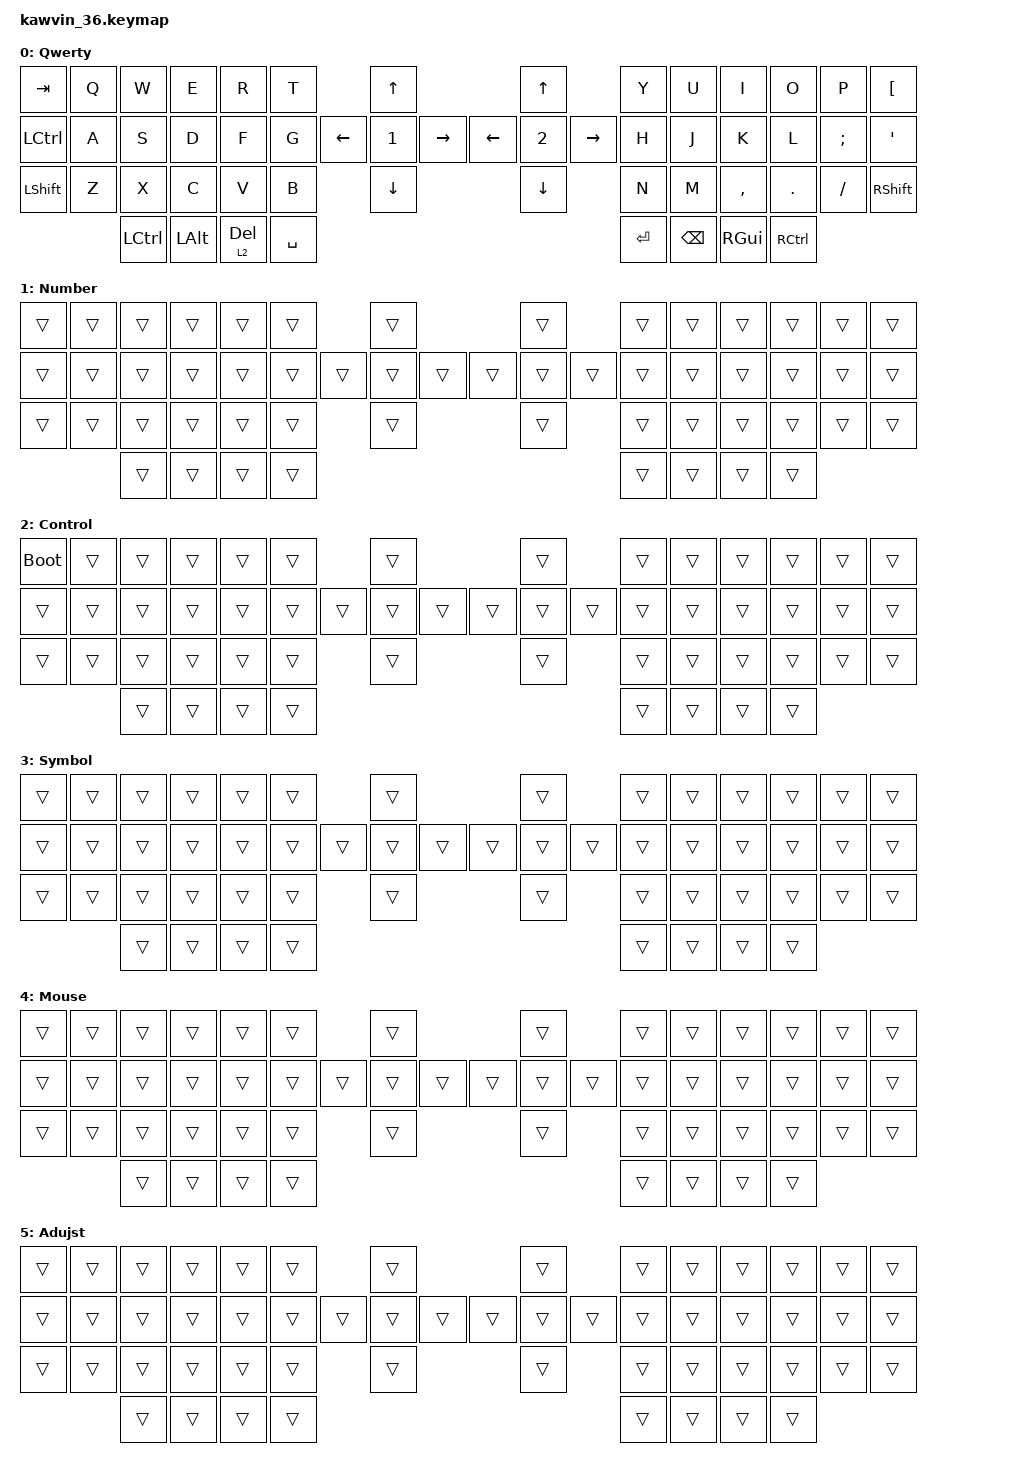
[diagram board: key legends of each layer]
/*
 * Copyright (c) 2023 The ZMK Contributors
 *
 * SPDX-License-Identifier: MIT
 */

#include <behaviors.dtsi>
#include <dt-bindings/zmk/keys.h>
#include <dt-bindings/zmk/bt.h>
#include <dt-bindings/zmk/ext_power.h>
#include <dt-bindings/zmk/rgb.h>


//#define QWERT 0
//#define LAYER1 1
//#define LAYER2 2
//#define LAYER3 3
//#define LAYER4 4
//#define LAYER5 5

/ {
/*
    sensors: sensors {
        compatible = "zmk,keymap-sensors";
        sensors = <&left_encoder>;
        //sensors = <&left_encoder &right_encoder>;
        triggers-per-rotation = <20>;
    };
*/
    macros {
        flash_macro: flash_macro {
            compatible = "zmk,behavior-macro";
            #binding-cells = <0>;
            bindings = <&bootloader>;
        };

        Ky_MyPwd: Ky_MyPwd {
            label = "Ky_MyPwd";
            compatible = "zmk,behavior-macro";
            #binding-cells = <0>;
            wait-ms = <0>;
            tap-ms = <0>;
            bindings =
                <&kp N0>,
                <&kp N1>,
                <&kp N2>,
                <&kp N3>,
                <&kp N4>,
                <&kp N5>;
        };

        layer_s: layer_s {
            label = "layer shift color";
            compatible = "zmk,behavior-macro";
            #binding-cells = <0>;
            wait-ms = <0>;
            tap-ms = <0>;
            bindings =
                <&macro_press>,
                <&kp LSHFT>,
                <&macro_tap>,
                <&rgb_ug RGB_COLOR_HSB(35,100,50)>,
                <&macro_pause_for_release>,
                <&macro_release>,
                <&kp LSHFT>,
                <&macro_tap>,
                <&rgb_ug RGB_COLOR_HSB(240,50,30)>;
        };

        layer_1: layer_1 {
            label = "layer 1";
            compatible = "zmk,behavior-macro";
            #binding-cells = <0>;
            wait-ms = <0>;
            tap-ms = <0>;
            bindings =
                <&macro_press>,
                <&ltq 0 END>,
                <&macro_tap>,
                <&rgb_ug RGB_COLOR_HSB(300,100,50)>,
                <&macro_pause_for_release>,
                <&macro_release>,
                <&lt 0 END>,
                <&macro_tap>,
                <&rgb_ug RGB_COLOR_HSB(240,50,30)>;
        };

        layer_2: layer_2 {
            label = "layer 2";
            compatible = "zmk,behavior-macro";
            #binding-cells = <0>;
            wait-ms = <0>;
            tap-ms = <0>;
            bindings =
                <&macro_press>,
                <&mo 0>,
                <&macro_tap>,
                <&rgb_ug RGB_COLOR_HSB(175,100,50)>,
                <&macro_pause_for_release>,
                <&macro_release>,
                <&mo 0>,
                <&macro_tap>,
                <&rgb_ug RGB_COLOR_HSB(240,50,30)>;
        };

        layer_3: layer_3 {
            label = "layer 3";
            compatible = "zmk,behavior-macro";
            #binding-cells = <0>;
            wait-ms = <0>;
            tap-ms = <0>;
            bindings =
                <&macro_press>,
                <&lt 0 DEL>,
                <&macro_tap>,
                <&rgb_ug RGB_COLOR_HSB(0,100,50)>,
                <&macro_pause_for_release>,
                <&macro_release>,
                <&lt 0 DEL>,
                <&macro_tap>,
                <&rgb_ug RGB_COLOR_HSB(240,50,30)>;
        };
    };

    behaviors {
        hm: homerow_mods {
            compatible = "zmk,behavior-hold-tap";
            label = "HOMEROW_MODS";
            bindings = <&kp>, <&kp>;

            #binding-cells = <2>;
            tapping-term-ms = <200>;
            quick-tap-ms = <180>;
            flavor = "tap-preferred";
        };

        ltq: ltq {
            compatible = "zmk,behavior-hold-tap";
            label = "LTQ";
            bindings = <&mo>, <&kp>;

            #binding-cells = <2>;
            tapping-term-ms = <200>;
            quick-tap-ms = <180>;
        };

        as: auto_shift {
            compatible = "zmk,behavior-hold-tap";
            label = "AUTO_SHIFT";
            bindings = <&kp>, <&kp>;

            #binding-cells = <2>;
            tapping-term-ms = <135>;
            quick-tap-ms = <0>;
        };

        rgb_encoder: rgb_encoder {
            compatible = "zmk,behavior-sensor-rotate";
            label = "RGB_ENCODER";
            #sensor-binding-cells = <0>;
            bindings = <&rgb_ug RGB_BRI>, <&rgb_ug RGB_BRD>;
        };
    };

    combos {
        compatible = "zmk,combos";

        esc {
            bindings = <&kp ESCAPE>;
            key-positions = <0 1>;
        };

        left_bkt {
            bindings = <&kp LEFT_BRACKET>;
            key-positions = <3 4>;
        };

        right_bkt {
            bindings = <&kp RIGHT_BRACKET>;
            key-positions = <9 8>;
        };

        left_par {
            bindings = <&kp LEFT_PARENTHESIS>;
            key-positions = <16 17>;
        };

        right_par {
            bindings = <&kp RIGHT_PARENTHESIS>;
            key-positions = <21 22>;
        };

        left_brace {
            bindings = <&kp LEFT_BRACE>;
            key-positions = <29 30>;
        };

        right_brace {
            bindings = <&kp RIGHT_BRACE>;
            key-positions = <34 35>;
        };

        bac {
            bindings = <&kp NON_US_BACKSLASH>;
            key-positions = <5 7>;
        };

        pipe {
            bindings = <&kp PIPE>;
            key-positions = <18 20>;
        };
    };

    keymap {
        compatible = "zmk,keymap";

        qwert_layer {
//  ---------------------------------------------------------------------------------
//  |TAB   |Q   |W    |E   |R        |T    |    |    |UP  |     |    |    |UP  |     |    |Y    |U   |I    |O    |P   |LBKT  |
//  |LCTRL |A   |S    |D   |F        |G    |    |LEFT|N1  |RIGHT|    |LEFT|N2  |RIGHT|    |H    |J   |K    |L    |SEMI|SQT   |
//  |LSHIFT|Z   |X    |C   |V        |B    |    |    |DOWN|     |    |    |DOWN|     |    |N    |M   |COMMA|DOT  |FSLH|RSHIFT|
//  |      |    |LCTRL|LALT|&lt 2 DEL|SPACE|    |    |    |     |    |    |    |     |    |ENTER|BSPC|RGUI |RCTRL|    |      |
//  |      |    |     |    |         |     |    |    |    |     |    |    |    |     |    |     |    |     |     |    |      |

            bindings = <
&kp TAB     &kp Q   &kp W      &kp E     &kp R      &kp T                        &kp UP                                 &kp UP                       &kp Y      &kp U     &kp I      &kp O      &kp P     &kp LBKT    
&kp LCTRL   &kp A   &kp S      &kp D     &kp F      &kp G              &kp LEFT  &kp N1    &kp RIGHT          &kp LEFT  &kp N2    &kp RIGHT          &kp H      &kp J     &kp K      &kp L      &kp SEMI  &kp SQT     
&kp LSHIFT  &kp Z   &kp X      &kp C     &kp V      &kp B                        &kp DOWN                               &kp DOWN                     &kp N      &kp M     &kp COMMA  &kp DOT    &kp FSLH  &kp RSHIFT  
                    &kp LCTRL  &kp LALT  &lt 2 DEL  &kp SPACE                                                                                        &kp ENTER  &kp BSPC  &kp RGUI   &kp RCTRL                        

            >;
            label = "Qwerty";
            //sensor-bindings = <&inc_dec_kp C_VOL_UP C_VOL_DN>;
            //sensor-bindings = <&inc_dec_kp C_VOL_UP C_VOL_DN &inc_dec_kp PG_UP PG_DN>;
        };

        layer1_layer {
//  ---------------------------------------------------------------------------------
//  |    |    |    |    |    |    |    |    |    |    |    |    |    |    |    |    |    |    |    |    |    |
//  |    |    |    |    |    |    |    |    |    |    |    |    |    |    |    |    |    |    |    |    |    |
//  |    |    |    |    |    |    |    |    |    |    |    |    |    |    |    |    |    |    |    |    |    |
//  |    |    |    |    |    |    |    |    |    |    |    |    |    |    |    |    |    |    |    |    |    |
//  |    |    |    |    |    |    |    |    |    |    |    |    |    |    |    |    |    |    |    |    |    |


            bindings = <
&trans  &trans  &trans  &trans  &trans  &trans                  &trans                          &trans                  &trans  &trans  &trans  &trans  &trans  &trans  
&trans  &trans  &trans  &trans  &trans  &trans          &trans  &trans  &trans          &trans  &trans  &trans          &trans  &trans  &trans  &trans  &trans  &trans  
&trans  &trans  &trans  &trans  &trans  &trans                  &trans                          &trans                  &trans  &trans  &trans  &trans  &trans  &trans  
                &trans  &trans  &trans  &trans                                                                          &trans  &trans  &trans  &trans                  

            >;
            label = "Number";
            //sensor-bindings = <&inc_dec_kp C_VOL_UP C_VOL_DN>;
            //sensor-bindings = <&inc_dec_kp C_VOL_UP C_VOL_DN &inc_dec_kp PG_UP PG_DN>;
        };

        layer2_layer {
//  ---------------------------------------------------------------------------------
//  |&bootloader|    |    |    |    |    |    |    |    |    |    |    |    |    |    |    |    |    |    |    |    |
//  |           |    |    |    |    |    |    |    |    |    |    |    |    |    |    |    |    |    |    |    |    |
//  |           |    |    |    |    |    |    |    |    |    |    |    |    |    |    |    |    |    |    |    |    |
//  |           |    |    |    |    |    |    |    |    |    |    |    |    |    |    |    |    |    |    |    |    |
//  |           |    |    |    |    |    |    |    |    |    |    |    |    |    |    |    |    |    |    |    |    |

            bindings = <
&bootloader  &trans  &trans  &trans  &trans  &trans                  &trans                          &trans                  &trans  &trans  &trans  &trans  &trans  &trans  
&trans       &trans  &trans  &trans  &trans  &trans          &trans  &trans  &trans          &trans  &trans  &trans          &trans  &trans  &trans  &trans  &trans  &trans  
&trans       &trans  &trans  &trans  &trans  &trans                  &trans                          &trans                  &trans  &trans  &trans  &trans  &trans  &trans  
                     &trans  &trans  &trans  &trans                                                                          &trans  &trans  &trans  &trans                  

            >;
            label = "Control";
            //sensor-bindings = <&inc_dec_kp C_VOL_UP C_VOL_DN>;
            //sensor-bindings = <&inc_dec_kp C_VOL_UP C_VOL_DN &inc_dec_kp PG_UP PG_DN>;
        };

        layer3_layer {
//  ---------------------------------------------------------------------------------
//  |    |    |    |    |    |    |    |    |    |    |    |    |    |    |    |    |    |    |    |    |    |
//  |    |    |    |    |    |    |    |    |    |    |    |    |    |    |    |    |    |    |    |    |    |
//  |    |    |    |    |    |    |    |    |    |    |    |    |    |    |    |    |    |    |    |    |    |
//  |    |    |    |    |    |    |    |    |    |    |    |    |    |    |    |    |    |    |    |    |    |
//  |    |    |    |    |    |    |    |    |    |    |    |    |    |    |    |    |    |    |    |    |    |

            bindings = <
&trans  &trans  &trans  &trans  &trans  &trans                  &trans                          &trans                  &trans  &trans  &trans  &trans  &trans  &trans  
&trans  &trans  &trans  &trans  &trans  &trans          &trans  &trans  &trans          &trans  &trans  &trans          &trans  &trans  &trans  &trans  &trans  &trans  
&trans  &trans  &trans  &trans  &trans  &trans                  &trans                          &trans                  &trans  &trans  &trans  &trans  &trans  &trans  
                &trans  &trans  &trans  &trans                                                                          &trans  &trans  &trans  &trans                  

            >;
            label = "Symbol";
            //sensor-bindings = <&inc_dec_kp C_VOL_UP C_VOL_DN>;
            //sensor-bindings = <&inc_dec_kp C_VOL_UP C_VOL_DN &inc_dec_kp PG_UP PG_DN>;
        };

        layer4_layer {
//  ---------------------------------------------------------------------------------
//  |    |    |    |    |    |    |    |    |    |    |    |    |    |    |    |    |    |    |    |    |    |
//  |    |    |    |    |    |    |    |    |    |    |    |    |    |    |    |    |    |    |    |    |    |
//  |    |    |    |    |    |    |    |    |    |    |    |    |    |    |    |    |    |    |    |    |    |
//  |    |    |    |    |    |    |    |    |    |    |    |    |    |    |    |    |    |    |    |    |    |
//  |    |    |    |    |    |    |    |    |    |    |    |    |    |    |    |    |    |    |    |    |    |

            bindings = <
&trans  &trans  &trans  &trans  &trans  &trans                  &trans                          &trans                  &trans  &trans  &trans  &trans  &trans  &trans  
&trans  &trans  &trans  &trans  &trans  &trans          &trans  &trans  &trans          &trans  &trans  &trans          &trans  &trans  &trans  &trans  &trans  &trans  
&trans  &trans  &trans  &trans  &trans  &trans                  &trans                          &trans                  &trans  &trans  &trans  &trans  &trans  &trans  
                &trans  &trans  &trans  &trans                                                                          &trans  &trans  &trans  &trans                  
                                                                                                                                                                        
            >;
            label = "Mouse";
            //sensor-bindings = <&inc_dec_kp C_VOL_UP C_VOL_DN>;
            //sensor-bindings = <&inc_dec_kp C_VOL_UP C_VOL_DN &inc_dec_kp PG_UP PG_DN>;
        };

        layer5_layer {
//  ---------------------------------------------------------------------------------
//  |    |    |    |    |    |    |    |    |    |    |    |    |    |    |    |    |    |    |    |    |    |
//  |    |    |    |    |    |    |    |    |    |    |    |    |    |    |    |    |    |    |    |    |    |
//  |    |    |    |    |    |    |    |    |    |    |    |    |    |    |    |    |    |    |    |    |    |
//  |    |    |    |    |    |    |    |    |    |    |    |    |    |    |    |    |    |    |    |    |    |
//  |    |    |    |    |    |    |    |    |    |    |    |    |    |    |    |    |    |    |    |    |    |

            bindings = <
&trans  &trans  &trans  &trans  &trans  &trans                  &trans                          &trans                  &trans  &trans  &trans  &trans  &trans  &trans  
&trans  &trans  &trans  &trans  &trans  &trans          &trans  &trans  &trans          &trans  &trans  &trans          &trans  &trans  &trans  &trans  &trans  &trans  
&trans  &trans  &trans  &trans  &trans  &trans                  &trans                          &trans                  &trans  &trans  &trans  &trans  &trans  &trans  
                &trans  &trans  &trans  &trans                                                                          &trans  &trans  &trans  &trans                  
                                                                                                                                                                        

            >;
            label = "Adujst";
            //sensor-bindings = <&inc_dec_kp C_VOL_UP C_VOL_DN>;
            //sensor-bindings = <&inc_dec_kp C_VOL_UP C_VOL_DN &inc_dec_kp PG_UP PG_DN>;
        };
    };
};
